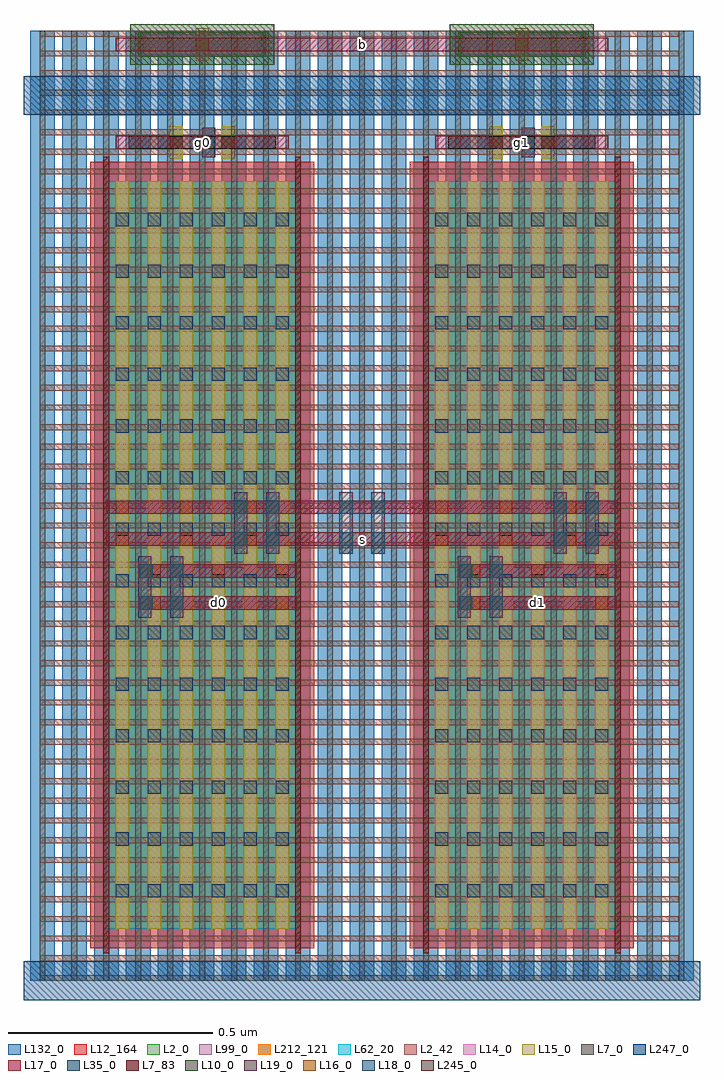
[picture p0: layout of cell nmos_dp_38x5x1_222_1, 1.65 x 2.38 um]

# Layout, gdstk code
import gdstk
lib = gdstk.Library(unit=1e-6, precision=1e-12)
def R(c, l, rs):  # rectangles x0, y0, x1, y1
    for r in rs: c.add(gdstk.rectangle(r[:2], r[2:], *l))
def A(c, l, x, y, w, h, nx, ny, dx, dy):  # array of equal rectangles
    R(c, l, [(x+i*dx, y+j*dy, x+i*dx+w, y+j*dy+h) for i in range(nx) for j in range(ny)])
L2_0 = (2, 0)
L2_42 = (2, 42)
L7_0 = (7, 0)
L7_83 = (7, 83)
L10_0 = (10, 0)
L12_164 = (12, 164)
L14_0 = (14, 0)
L15_0 = (15, 0)
L16_0 = (16, 0)
L17_0 = (17, 0)
L18_0 = (18, 0)
L19_0 = (19, 0)
L35_0 = (35, 0)
L62_20 = (62, 20)
L99_0 = (99, 0)
L132_0 = (132, 0)
L212_121 = (212, 121)
L245_0 = (245, 0)
L247_0 = (247, 0)

nmos_dp_38x5x1_222_1 = lib.new_cell('nmos_dp_38x5x1_222_1')
R(nmos_dp_38x5x1_222_1, L2_0, [(0.186,0.127,0.654,1.951), (0.966,0.127,1.434,1.951), (0.2645,2.255,0.5755,2.315), (1.0445,2.255,1.3555,2.315)])
A(nmos_dp_38x5x1_222_1, L2_42, 0.023, 0, 1.56, 0.014, 1, 49, 0, 0.048)
A(nmos_dp_38x5x1_222_1, L7_0, 0.023, 0, 0.014, 2.318, 21, 1, 0.078, 0)
R(nmos_dp_38x5x1_222_1, L7_83, [(0.179,0.067,0.193,2.011), (0.647,0.067,0.661,2.011), (0.959,0.067,0.973,2.011), (1.427,0.067,1.441,2.011)])
R(nmos_dp_38x5x1_222_1, L10_0, [(0.2445,2.235,0.5955,2.335), (1.0245,2.235,1.3755,2.335)])
R(nmos_dp_38x5x1_222_1, L12_164, [(0.147,0.079,0.693,1.999), (0.927,0.079,1.473,1.999)])
A(nmos_dp_38x5x1_222_1, L14_0, 0.208, 0.127, 0.034, 1.824, 6, 1, 0.078, 0)
A(nmos_dp_38x5x1_222_1, L14_0, 0.988, 0.127, 0.034, 1.824, 6, 1, 0.078, 0)
R(nmos_dp_38x5x1_222_1, L14_0, [(0.2795,2.265,0.5605,2.305), (1.0595,2.265,1.3405,2.305)])
A(nmos_dp_38x5x1_222_1, L15_0, 0.209, 0.127, 0.032, 1.824, 6, 1, 0.078, 0)
A(nmos_dp_38x5x1_222_1, L15_0, 0.989, 0.127, 0.032, 1.824, 6, 1, 0.078, 0)
R(nmos_dp_38x5x1_222_1, L15_0, [(0.341,2.006,0.373,2.086), (0.467,2.006,0.499,2.086), (1.121,2.006,1.153,2.086), (1.247,2.006,1.279,2.086), (0.404,2.245,0.436,2.325), (1.184,2.245,1.216,2.325)])
A(nmos_dp_38x5x1_222_1, L16_0, 0.287, 0.906, 0.032, 0.032, 3, 2, 0.156, 0.078)
A(nmos_dp_38x5x1_222_1, L16_0, 1.067, 0.906, 0.032, 0.032, 3, 2, 0.156, 0.078)
A(nmos_dp_38x5x1_222_1, L16_0, 0.209, 1.062, 0.032, 0.032, 3, 2, 0.156, 0.078)
A(nmos_dp_38x5x1_222_1, L16_0, 0.989, 1.062, 0.032, 0.032, 3, 2, 0.156, 0.078)
R(nmos_dp_38x5x1_222_1, L16_0, [(0.341,2.03,0.373,2.062), (0.467,2.03,0.499,2.062), (1.121,2.03,1.153,2.062), (1.247,2.03,1.279,2.062), (0.404,2.269,0.436,2.301), (1.184,2.269,1.216,2.301)])
R(nmos_dp_38x5x1_222_1, L17_0, [(0.267,0.906,0.651,0.938), (1.047,0.906,1.431,0.938), (0.267,0.984,0.651,1.016), (1.047,0.984,1.431,1.016), (0.186,1.062,0.654,1.094), (0.644,1.062,0.976,1.094), (0.966,1.062,1.434,1.094), (0.186,1.14,0.654,1.172), (0.644,1.14,0.976,1.172), (0.966,1.14,1.434,1.172), (0.209,2.03,0.631,2.062), (0.989,2.03,1.411,2.062), (0.209,2.269,0.631,2.301), (0.621,2.269,0.999,2.301), (0.989,2.269,1.411,2.301)])
R(nmos_dp_38x5x1_222_1, L18_0, [(0.267,0.906,0.299,0.938), (0.342,0.906,0.374,0.938), (1.047,0.906,1.079,0.938), (1.122,0.906,1.154,0.938), (0.267,0.984,0.299,1.016), (0.342,0.984,0.374,1.016), (1.047,0.984,1.079,1.016), (1.122,0.984,1.154,1.016), (0.755,1.042,0.787,1.074), (0.833,1.042,0.865,1.074), (0.498,1.062,0.53,1.094), (0.576,1.062,0.608,1.094), (0.755,1.062,0.787,1.094), (0.833,1.062,0.865,1.094), (1.278,1.062,1.31,1.094), (1.356,1.062,1.388,1.094), (0.498,1.14,0.53,1.172), (0.576,1.14,0.608,1.172), (0.755,1.14,0.787,1.172), (0.833,1.14,0.865,1.172), (1.278,1.14,1.31,1.172), (1.356,1.14,1.388,1.172), (0.42,2.03,0.452,2.062), (1.2,2.03,1.232,2.062)])
R(nmos_dp_38x5x1_222_1, L19_0, [(0.264,0.886,0.296,1.036), (0.342,0.886,0.374,1.036), (1.044,0.886,1.076,1.036), (1.122,0.886,1.154,1.036), (0.498,1.042,0.53,1.192), (0.576,1.042,0.608,1.192), (0.755,1.042,0.787,1.192), (0.833,1.042,0.865,1.192), (1.278,1.042,1.31,1.192), (1.356,1.042,1.388,1.192), (0.42,2.01,0.452,2.082), (1.2,2.01,1.232,2.082)])
A(nmos_dp_38x5x1_222_1, L35_0, 0.209, 0.204, 0.032, 0.032, 6, 14, 0.078, 0.126)
A(nmos_dp_38x5x1_222_1, L35_0, 0.989, 0.204, 0.032, 0.032, 6, 14, 0.078, 0.126)
R(nmos_dp_38x5x1_222_1, L35_0, [(0.341,2.03,0.373,2.062), (0.467,2.03,0.499,2.062), (1.121,2.03,1.153,2.062), (1.247,2.03,1.279,2.062), (0.404,2.269,0.436,2.301), (1.184,2.269,1.216,2.301)])
R(nmos_dp_38x5x1_222_1, L62_20, [(0.186,0.127,0.654,1.951), (0.966,0.127,1.434,1.951)])
R(nmos_dp_38x5x1_222_1, L99_0, [(0.186,0.127,0.654,1.951), (0.966,0.127,1.434,1.951), (0.2745,2.26,0.5655,2.31), (1.0545,2.26,1.3455,2.31)])
A(nmos_dp_38x5x1_222_1, L132_0, 0, 0, 0.06, 2.318, 21, 1, 0.078, 0)
R(nmos_dp_38x5x1_222_1, L212_121, [(0.186,0.127,0.654,1.951), (0.966,0.127,1.434,1.951)])
R(nmos_dp_38x5x1_222_1, L245_0, [(0.241,2.031,0.599,2.061), (1.021,2.031,1.379,2.061)])
R(nmos_dp_38x5x1_222_1, L247_0, [(-0.016,-0.047,0.856,0.047), (0.764,-0.047,1.636,0.047), (-0.016,2.113,0.856,2.207), (0.764,2.113,1.636,2.207)])
nmos_dp_38x5x1_222_1.add(gdstk.Label('s', (0.81,1.078), layer=16, texttype=20))
nmos_dp_38x5x1_222_1.add(gdstk.Label('d1', (1.239,0.922), layer=16, texttype=20))
nmos_dp_38x5x1_222_1.add(gdstk.Label('d0', (0.459,0.922), layer=16, texttype=20))
nmos_dp_38x5x1_222_1.add(gdstk.Label('g0', (0.42,2.046), layer=16, texttype=20))
nmos_dp_38x5x1_222_1.add(gdstk.Label('g1', (1.2,2.046), layer=16, texttype=20))
nmos_dp_38x5x1_222_1.add(gdstk.Label('b', (0.81,2.285), layer=16, texttype=20))

lib.write_gds('nmos_dp_38x5x1_222_1.gds')
